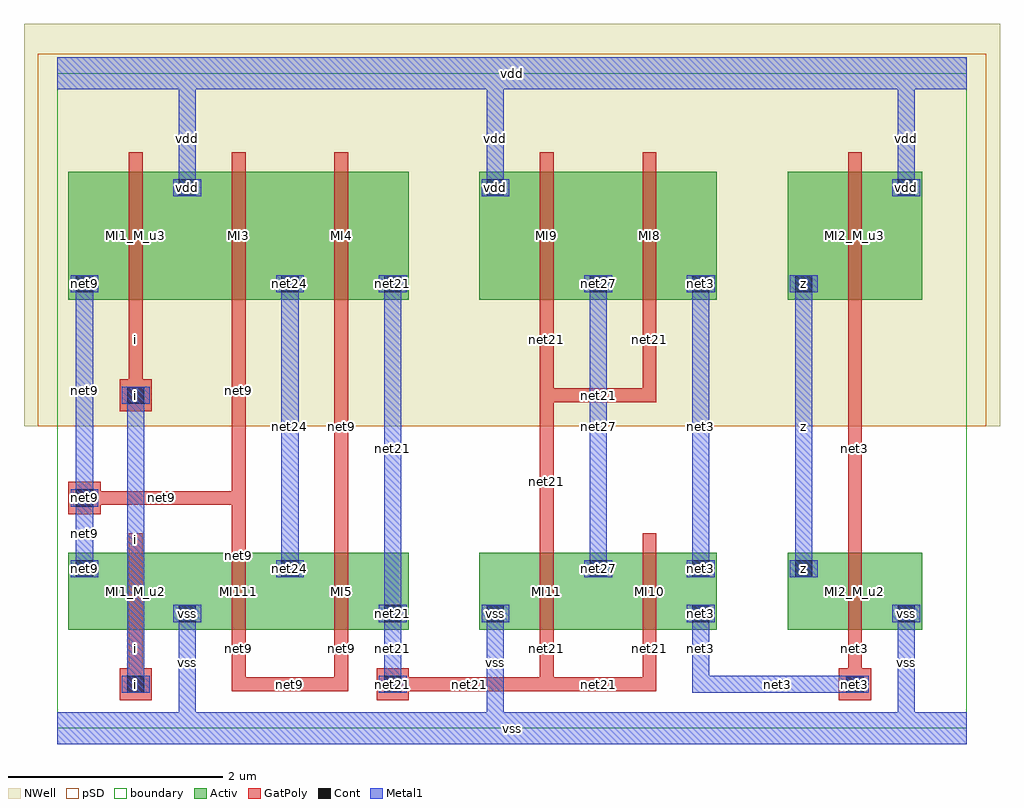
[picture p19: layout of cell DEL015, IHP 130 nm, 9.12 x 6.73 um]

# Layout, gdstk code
import gdstk
lib = gdstk.Library(unit=1e-6, precision=1e-09)
def R(c, l, rs):  # rectangles x0, y0, x1, y1
    for r in rs: c.add(gdstk.rectangle(r[:2], r[2:], *l))
def A(c, l, x, y, w, h, nx, ny, dx, dy):  # array of equal rectangles
    R(c, l, [(x+i*dx, y+j*dy, x+i*dx+w, y+j*dy+h) for i in range(nx) for j in range(ny)])
Activ = (1, 0)
GatPoly = (5, 0)
Cont = (6, 0)
Metal1 = (8, 0)
pSD = (14, 0)
NWell = (31, 0)
TEXT = (63, 0)
boundary = (189, 4)

del015 = lib.new_cell('DEL015')
A(del015, Activ, 0.105, 0.92, 1.26, 0.72, 3, 1, 0.96, 0)
A(del015, Activ, 3.945, 0.92, 0.3, 0.3, 3, 1, 1.92, 0)
A(del015, Activ, 4.905, 1.34, 0.3, 0.3, 3, 2, 0.96, 2.66)
A(del015, Activ, 0.105, 4, 1.26, 1.2, 3, 1, 0.96, 0)
R(del015, Activ, [(1.065,0.92,1.365,1.22), (2.985,0.92,3.285,1.22), (3.945,0.92,5.205,1.64), (4.905,0.92,6.165,1.64), (6.825,0.92,8.085,1.64), (0.105,1.34,0.405,1.64), (2.025,1.34,2.325,1.64), (0.105,4,0.405,4.3), (2.025,4,2.325,4.3), (2.985,4,3.285,4.3), (3.945,4,5.205,5.2), (4.905,4,6.165,5.2), (6.825,4,8.085,5.2), (1.065,4.9,1.365,5.2), (3.945,4.9,4.245,5.2), (7.785,4.9,8.085,5.2)])
A(del015, GatPoly, 0.67, 0.345, 0.13, 0.79, 3, 1, 0.96, 0)
A(del015, GatPoly, 0.67, 0.74, 0.13, 1.08, 3, 1, 0.96, 0)
A(del015, GatPoly, 0.67, 3.82, 0.13, 1.56, 3, 1, 0.96, 0)
R(del015, GatPoly, [(0.585,0.26,0.885,0.56), (2.985,0.26,3.285,0.56), (7.305,0.26,7.605,0.56), (1.63,0.345,2.72,0.475), (3.07,0.345,4.64,0.475), (4.51,0.345,4.64,1.135), (4.51,0.345,5.6,0.475), (5.47,0.345,5.6,1.135), (7.39,0.345,7.52,1.135), (4.51,0.74,4.64,1.82), (5.47,0.74,5.6,1.82), (7.39,0.74,7.52,1.82), (1.63,1.005,1.76,2.215), (7.39,1.005,7.52,4.215), (2.59,1.425,2.72,4.215), (4.51,1.425,4.64,3.175), (0.105,2,0.405,2.3), (0.19,2.085,1.76,2.215), (1.63,2.085,1.76,4.215), (0.585,2.96,0.885,3.26), (0.67,3.045,0.8,4.215), (4.51,3.045,5.6,3.175), (4.51,3.045,4.64,4.215), (5.47,3.045,5.6,4.215), (4.51,3.82,4.64,5.38), (5.47,3.82,5.6,5.38), (7.39,3.82,7.52,5.38)])
A(del015, Cont, 4.015, 0.99, 0.16, 0.16, 3, 1, 1.92, 0)
A(del015, Cont, 4.975, 1.41, 0.16, 0.16, 3, 2, 0.96, 2.66)
R(del015, Cont, [(0.655,0.33,0.815,0.49), (3.055,0.33,3.215,0.49), (7.375,0.33,7.535,0.49), (1.135,0.99,1.295,1.15), (3.055,0.99,3.215,1.15), (0.175,1.41,0.335,1.57), (2.095,1.41,2.255,1.57), (0.175,2.07,0.335,2.23), (0.655,3.03,0.815,3.19), (0.175,4.07,0.335,4.23), (2.095,4.07,2.255,4.23), (3.055,4.07,3.215,4.23), (1.135,4.97,1.295,5.13), (4.015,4.97,4.175,5.13), (7.855,4.97,8.015,5.13)])
A(del015, Metal1, 3.965, 0.99, 0.26, 0.16, 3, 1, 1.92, 0)
A(del015, Metal1, 4.925, 1.41, 0.26, 0.16, 3, 2, 0.96, 2.66)
A(del015, Metal1, 4.975, 1.41, 0.16, 2.82, 3, 1, 0.96, 0)
R(del015, Metal1, [(0,-0.15,8.5,0.15), (1.135,0.07,1.295,1.15), (4.015,0.07,4.175,1.15), (7.855,0.07,8.015,1.15), (0.605,0.33,0.865,0.49), (0.655,0.33,0.815,3.19), (3.005,0.33,3.265,0.49), (3.055,0.33,3.215,1.15), (5.935,0.33,6.095,1.15), (5.935,0.33,7.535,0.49), (7.325,0.33,7.585,0.49), (1.085,0.99,1.345,1.15), (3.005,0.99,3.265,1.15), (3.055,0.99,3.215,4.23), (0.125,1.41,0.385,1.57), (0.175,1.41,0.335,2.23), (2.045,1.41,2.305,1.57), (2.095,1.41,2.255,4.23), (0.125,2.07,0.385,2.23), (0.175,2.07,0.335,4.23), (0.605,3.03,0.865,3.19), (0.125,4.07,0.385,4.23), (2.045,4.07,2.305,4.23), (3.005,4.07,3.265,4.23), (1.085,4.97,1.345,5.13), (1.135,4.97,1.295,6.05), (3.965,4.97,4.225,5.13), (4.015,4.97,4.175,6.05), (7.805,4.97,8.065,5.13), (7.855,4.97,8.015,6.05), (0,5.97,8.5,6.27)])
R(del015, pSD, [(-0.18,2.82,8.68,5.94), (-0.18,5.94,8.68,6.3)])
R(del015, NWell, [(-0.31,2.82,8.81,6.58)])
R(del015, boundary, [(0,0,8.5,6.12)])
del015.add(gdstk.FlexPath([(0.105,0.41),(8.085,0.41)], 0, ends="flush", simple_path=True, layer=63, datatype=0))  # TEXT
del015.add(gdstk.FlexPath([(0.105,1.07),(8.085,1.07)], 0, ends="flush", simple_path=True, layer=63, datatype=0))  # TEXT
del015.add(gdstk.FlexPath([(0.105,1.49),(8.085,1.49)], 0, ends="flush", simple_path=True, layer=63, datatype=0))  # TEXT
del015.add(gdstk.FlexPath([(0.105,2.15),(8.085,2.15)], 0, ends="flush", simple_path=True, layer=63, datatype=0))  # TEXT
del015.add(gdstk.FlexPath([(0.105,2.63),(8.085,2.63)], 0, ends="flush", simple_path=True, layer=63, datatype=0))  # TEXT
del015.add(gdstk.FlexPath([(0.105,3.11),(8.085,3.11)], 0, ends="flush", simple_path=True, layer=63, datatype=0))  # TEXT
del015.add(gdstk.FlexPath([(0.105,4.15),(8.085,4.15)], 0, ends="flush", simple_path=True, layer=63, datatype=0))  # TEXT
del015.add(gdstk.FlexPath([(0.105,4.71),(8.085,4.71)], 0, ends="flush", simple_path=True, layer=63, datatype=0))  # TEXT
del015.add(gdstk.FlexPath([(0.105,5.05),(8.085,5.05)], 0, ends="flush", simple_path=True, layer=63, datatype=0))  # TEXT
del015.add(gdstk.FlexPath([(0.105,5.71),(8.085,5.71)], 0, ends="flush", simple_path=True, layer=63, datatype=0))  # TEXT
del015.add(gdstk.FlexPath([(0.255,0.07),(0.255,6.05)], 0, ends="flush", simple_path=True, layer=63, datatype=0))  # TEXT
del015.add(gdstk.FlexPath([(0.735,0.07),(0.735,6.05)], 0, ends="flush", simple_path=True, layer=63, datatype=0))  # TEXT
del015.add(gdstk.FlexPath([(1.215,0.07),(1.215,6.05)], 0, ends="flush", simple_path=True, layer=63, datatype=0))  # TEXT
del015.add(gdstk.FlexPath([(1.695,0.07),(1.695,6.05)], 0, ends="flush", simple_path=True, layer=63, datatype=0))  # TEXT
del015.add(gdstk.FlexPath([(2.175,0.07),(2.175,6.05)], 0, ends="flush", simple_path=True, layer=63, datatype=0))  # TEXT
del015.add(gdstk.FlexPath([(2.655,0.07),(2.655,6.05)], 0, ends="flush", simple_path=True, layer=63, datatype=0))  # TEXT
del015.add(gdstk.FlexPath([(3.135,0.07),(3.135,6.05)], 0, ends="flush", simple_path=True, layer=63, datatype=0))  # TEXT
del015.add(gdstk.FlexPath([(3.615,0.07),(3.615,6.05)], 0, ends="flush", simple_path=True, layer=63, datatype=0))  # TEXT
del015.add(gdstk.FlexPath([(4.095,0.07),(4.095,6.05)], 0, ends="flush", simple_path=True, layer=63, datatype=0))  # TEXT
del015.add(gdstk.FlexPath([(4.575,0.07),(4.575,6.05)], 0, ends="flush", simple_path=True, layer=63, datatype=0))  # TEXT
del015.add(gdstk.FlexPath([(5.055,0.07),(5.055,6.05)], 0, ends="flush", simple_path=True, layer=63, datatype=0))  # TEXT
del015.add(gdstk.FlexPath([(5.535,0.07),(5.535,6.05)], 0, ends="flush", simple_path=True, layer=63, datatype=0))  # TEXT
del015.add(gdstk.FlexPath([(6.015,0.07),(6.015,6.05)], 0, ends="flush", simple_path=True, layer=63, datatype=0))  # TEXT
del015.add(gdstk.FlexPath([(6.495,0.07),(6.495,6.05)], 0, ends="flush", simple_path=True, layer=63, datatype=0))  # TEXT
del015.add(gdstk.FlexPath([(6.975,0.07),(6.975,6.05)], 0, ends="flush", simple_path=True, layer=63, datatype=0))  # TEXT
del015.add(gdstk.FlexPath([(7.455,0.07),(7.455,6.05)], 0, ends="flush", simple_path=True, layer=63, datatype=0))  # TEXT
del015.add(gdstk.FlexPath([(7.935,0.07),(7.935,6.05)], 0, ends="flush", simple_path=True, layer=63, datatype=0))  # TEXT
del015.add(gdstk.Label('net27', (5.055,1.49), layer=6, texttype=0))
del015.add(gdstk.Label('net27', (5.055,4.15), layer=6, texttype=0))
del015.add(gdstk.Label('net21', (3.135,1.07), layer=6, texttype=0))
del015.add(gdstk.Label('net21', (3.135,4.15), layer=6, texttype=0))
del015.add(gdstk.Label('net21', (3.135,0.41), layer=6, texttype=0))
del015.add(gdstk.Label('net3', (6.015,1.07), layer=6, texttype=0))
del015.add(gdstk.Label('net3', (6.015,1.49), layer=6, texttype=0))
del015.add(gdstk.Label('net3', (6.015,4.15), layer=6, texttype=0))
del015.add(gdstk.Label('net3', (7.455,0.41), layer=6, texttype=0))
del015.add(gdstk.Label('net9', (0.255,1.49), layer=6, texttype=0))
del015.add(gdstk.Label('net9', (0.255,4.15), layer=6, texttype=0))
del015.add(gdstk.Label('net9', (0.255,2.15), layer=6, texttype=0))
del015.add(gdstk.Label('net24', (2.175,1.49), layer=6, texttype=0))
del015.add(gdstk.Label('net24', (2.175,4.15), layer=6, texttype=0))
del015.add(gdstk.Label('z', (6.975,1.49), layer=6, texttype=0))
del015.add(gdstk.Label('z', (6.975,4.15), layer=6, texttype=0))
del015.add(gdstk.Label('i', (0.735,0.41), layer=6, texttype=0))
del015.add(gdstk.Label('i', (0.735,3.11), layer=6, texttype=0))
del015.add(gdstk.Label('vss', (4.095,1.07), layer=6, texttype=0))
del015.add(gdstk.Label('vss', (1.215,1.07), layer=6, texttype=0))
del015.add(gdstk.Label('vss', (7.935,1.07), layer=6, texttype=0))
del015.add(gdstk.Label('vdd', (4.095,5.05), layer=6, texttype=0))
del015.add(gdstk.Label('vdd', (1.215,5.05), layer=6, texttype=0))
del015.add(gdstk.Label('vdd', (7.935,5.05), layer=6, texttype=0))
del015.add(gdstk.Label('net27', (5.055,1.49), layer=8, texttype=0))
del015.add(gdstk.Label('net27', (5.055,4.15), layer=8, texttype=0))
del015.add(gdstk.Label('net27', (5.055,2.82), layer=8, texttype=0))
del015.add(gdstk.Label('net21', (3.135,1.07), layer=8, texttype=0))
del015.add(gdstk.Label('net21', (3.135,4.15), layer=8, texttype=0))
del015.add(gdstk.Label('net21', (3.135,0.41), layer=8, texttype=0))
del015.add(gdstk.Label('net21', (3.135,0.74), layer=8, texttype=0))
del015.add(gdstk.Label('net21', (3.135,2.61), layer=8, texttype=0))
del015.add(gdstk.Label('net3', (6.015,1.07), layer=8, texttype=0))
del015.add(gdstk.Label('net3', (6.015,1.49), layer=8, texttype=0))
del015.add(gdstk.Label('net3', (6.015,4.15), layer=8, texttype=0))
del015.add(gdstk.Label('net3', (6.015,0.74), layer=8, texttype=0))
del015.add(gdstk.Label('net3', (6.735,0.41), layer=8, texttype=0))
del015.add(gdstk.Label('net3', (7.455,0.41), layer=8, texttype=0))
del015.add(gdstk.Label('net3', (6.015,2.82), layer=8, texttype=0))
del015.add(gdstk.Label('net9', (0.255,1.49), layer=8, texttype=0))
del015.add(gdstk.Label('net9', (0.255,4.15), layer=8, texttype=0))
del015.add(gdstk.Label('net9', (0.255,2.15), layer=8, texttype=0))
del015.add(gdstk.Label('net9', (0.255,1.82), layer=8, texttype=0))
del015.add(gdstk.Label('net9', (0.255,3.15), layer=8, texttype=0))
del015.add(gdstk.Label('net24', (2.175,1.49), layer=8, texttype=0))
del015.add(gdstk.Label('net24', (2.175,4.15), layer=8, texttype=0))
del015.add(gdstk.Label('net24', (2.175,2.82), layer=8, texttype=0))
del015.add(gdstk.Label('vss', (4.095,1.07), layer=8, texttype=0))
del015.add(gdstk.Label('vss', (4.095,0.61), layer=8, texttype=0))
del015.add(gdstk.Label('vss', (1.215,1.07), layer=8, texttype=0))
del015.add(gdstk.Label('vss', (1.215,0.61), layer=8, texttype=0))
del015.add(gdstk.Label('vss', (7.935,1.07), layer=8, texttype=0))
del015.add(gdstk.Label('vss', (7.935,0.61), layer=8, texttype=0))
del015.add(gdstk.Label('vdd', (4.095,5.05), layer=8, texttype=0))
del015.add(gdstk.Label('vdd', (4.095,5.51), layer=8, texttype=0))
del015.add(gdstk.Label('vdd', (1.215,5.05), layer=8, texttype=0))
del015.add(gdstk.Label('vdd', (1.215,5.51), layer=8, texttype=0))
del015.add(gdstk.Label('vdd', (7.935,5.05), layer=8, texttype=0))
del015.add(gdstk.Label('vdd', (7.935,5.51), layer=8, texttype=0))
del015.add(gdstk.Label('z', (6.975,1.49), layer=8, texttype=2))
del015.add(gdstk.Label('z', (6.975,4.15), layer=8, texttype=2))
del015.add(gdstk.Label('z', (6.975,2.82), layer=8, texttype=2))
del015.add(gdstk.Label('i', (0.735,0.41), layer=8, texttype=2))
del015.add(gdstk.Label('i', (0.735,1.76), layer=8, texttype=2))
del015.add(gdstk.Label('i', (0.735,3.11), layer=8, texttype=2))
del015.add(gdstk.Label('vss', (4.25,0), layer=8, texttype=2))
del015.add(gdstk.Label('vdd', (4.25,6.12), layer=8, texttype=2))
del015.add(gdstk.Label('z', (6.975,1.49), layer=8, texttype=2))
del015.add(gdstk.Label('z', (6.975,4.15), layer=8, texttype=2))
del015.add(gdstk.Label('z', (6.975,2.82), layer=8, texttype=2))
del015.add(gdstk.Label('i', (0.735,0.41), layer=8, texttype=2))
del015.add(gdstk.Label('i', (0.735,1.76), layer=8, texttype=2))
del015.add(gdstk.Label('i', (0.735,3.11), layer=8, texttype=2))
del015.add(gdstk.Label('vss', (4.25,0), layer=8, texttype=2))
del015.add(gdstk.Label('vdd', (4.25,6.12), layer=8, texttype=2))
del015.add(gdstk.Label('MI11', (4.575,1.28), layer=1, texttype=0))
del015.add(gdstk.Label('MI10', (5.535,1.28), layer=1, texttype=0))
del015.add(gdstk.Label('MI5', (2.655,1.28), layer=1, texttype=0))
del015.add(gdstk.Label('MI111', (1.695,1.28), layer=1, texttype=0))
del015.add(gdstk.Label('MI2_M_u2', (7.455,1.28), layer=1, texttype=0))
del015.add(gdstk.Label('MI1_M_u2', (0.735,1.28), layer=1, texttype=0))
del015.add(gdstk.Label('MI8', (5.535,4.6), layer=1, texttype=0))
del015.add(gdstk.Label('MI9', (4.575,4.6), layer=1, texttype=0))
del015.add(gdstk.Label('MI4', (2.655,4.6), layer=1, texttype=0))
del015.add(gdstk.Label('MI3', (1.695,4.6), layer=1, texttype=0))
del015.add(gdstk.Label('MI2_M_u3', (7.455,4.6), layer=1, texttype=0))
del015.add(gdstk.Label('MI1_M_u3', (0.735,4.6), layer=1, texttype=0))
del015.add(gdstk.Label('net27', (5.055,1.49), layer=1, texttype=0))
del015.add(gdstk.Label('net27', (5.055,4.15), layer=1, texttype=0))
del015.add(gdstk.Label('net21', (3.135,1.07), layer=1, texttype=0))
del015.add(gdstk.Label('net21', (3.135,4.15), layer=1, texttype=0))
del015.add(gdstk.Label('net3', (6.015,1.07), layer=1, texttype=0))
del015.add(gdstk.Label('net3', (6.015,1.49), layer=1, texttype=0))
del015.add(gdstk.Label('net3', (6.015,4.15), layer=1, texttype=0))
del015.add(gdstk.Label('net9', (0.255,1.49), layer=1, texttype=0))
del015.add(gdstk.Label('net9', (0.255,4.15), layer=1, texttype=0))
del015.add(gdstk.Label('net24', (2.175,1.49), layer=1, texttype=0))
del015.add(gdstk.Label('net24', (2.175,4.15), layer=1, texttype=0))
del015.add(gdstk.Label('z', (6.975,1.49), layer=1, texttype=0))
del015.add(gdstk.Label('z', (6.975,4.15), layer=1, texttype=0))
del015.add(gdstk.Label('vss', (4.095,1.07), layer=1, texttype=0))
del015.add(gdstk.Label('vss', (1.215,1.07), layer=1, texttype=0))
del015.add(gdstk.Label('vss', (7.935,1.07), layer=1, texttype=0))
del015.add(gdstk.Label('vdd', (4.095,5.05), layer=1, texttype=0))
del015.add(gdstk.Label('vdd', (1.215,5.05), layer=1, texttype=0))
del015.add(gdstk.Label('vdd', (7.935,5.05), layer=1, texttype=0))
del015.add(gdstk.Label('z', (6.975,1.49), layer=8, texttype=25))
del015.add(gdstk.Label('z', (6.975,4.15), layer=8, texttype=25))
del015.add(gdstk.Label('z', (6.975,2.82), layer=8, texttype=25))
del015.add(gdstk.Label('i', (0.735,0.41), layer=8, texttype=25))
del015.add(gdstk.Label('i', (0.735,1.76), layer=8, texttype=25))
del015.add(gdstk.Label('i', (0.735,3.11), layer=8, texttype=25))
del015.add(gdstk.Label('vss', (4.25,0), layer=8, texttype=25))
del015.add(gdstk.Label('vdd', (4.25,6.12), layer=8, texttype=25))
del015.add(gdstk.Label('net21', (4.575,0.74), layer=5, texttype=0))
del015.add(gdstk.Label('net21', (3.855,0.41), layer=5, texttype=0))
del015.add(gdstk.Label('net21', (3.135,0.41), layer=5, texttype=0))
del015.add(gdstk.Label('net21', (4.575,2.3), layer=5, texttype=0))
del015.add(gdstk.Label('net21', (5.055,3.11), layer=5, texttype=0))
del015.add(gdstk.Label('net21', (5.535,3.63), layer=5, texttype=0))
del015.add(gdstk.Label('net21', (4.575,3.63), layer=5, texttype=0))
del015.add(gdstk.Label('net21', (5.535,0.74), layer=5, texttype=0))
del015.add(gdstk.Label('net21', (5.055,0.41), layer=5, texttype=0))
del015.add(gdstk.Label('net3', (7.455,0.41), layer=5, texttype=0))
del015.add(gdstk.Label('net3', (7.455,0.74), layer=5, texttype=0))
del015.add(gdstk.Label('net3', (7.455,2.61), layer=5, texttype=0))
del015.add(gdstk.Label('net9', (2.655,0.74), layer=5, texttype=0))
del015.add(gdstk.Label('net9', (2.175,0.41), layer=5, texttype=0))
del015.add(gdstk.Label('net9', (1.695,0.74), layer=5, texttype=0))
del015.add(gdstk.Label('net9', (1.695,1.61), layer=5, texttype=0))
del015.add(gdstk.Label('net9', (0.975,2.15), layer=5, texttype=0))
del015.add(gdstk.Label('net9', (0.255,2.15), layer=5, texttype=0))
del015.add(gdstk.Label('net9', (2.655,2.82), layer=5, texttype=0))
del015.add(gdstk.Label('net9', (1.695,3.15), layer=5, texttype=0))
del015.add(gdstk.Label('i', (0.735,0.74), layer=5, texttype=0))
del015.add(gdstk.Label('i', (0.735,0.41), layer=5, texttype=0))
del015.add(gdstk.Label('i', (0.735,3.11), layer=5, texttype=0))
del015.add(gdstk.Label('i', (0.735,3.63), layer=5, texttype=0))

lib.write_gds('DEL015.gds')
